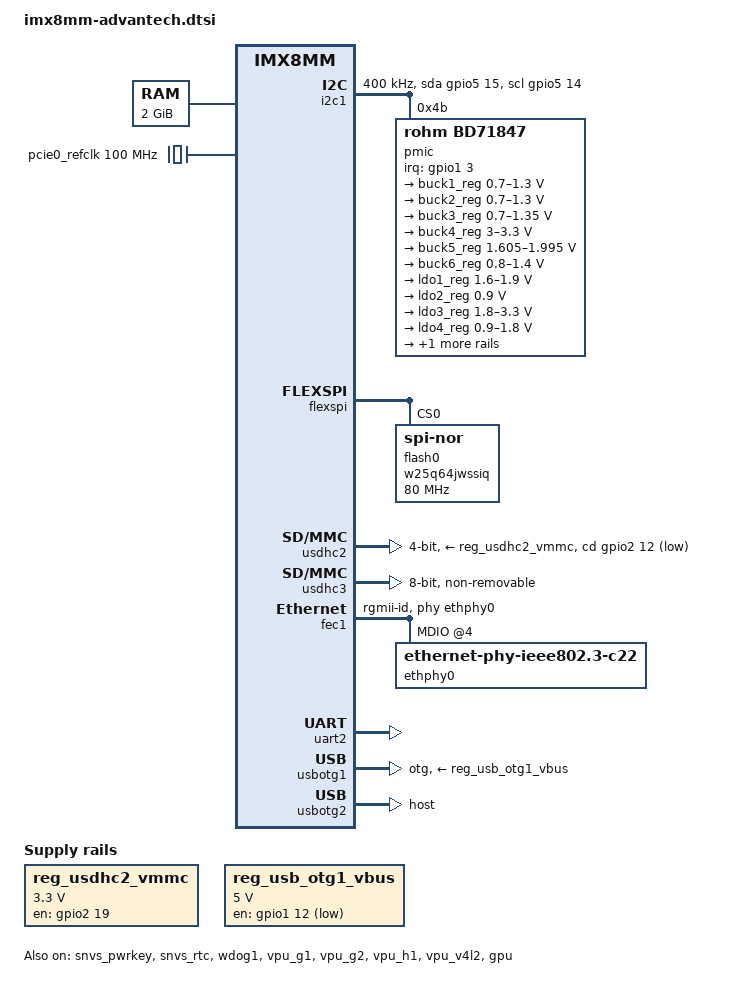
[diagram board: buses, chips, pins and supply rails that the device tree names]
// SPDX-License-Identifier: (GPL-2.0+ OR MIT)
/*
* Copyright 2022 Advantech
*/

/dts-v1/;

#include <dt-bindings/usb/pd.h>
#include "imx8mm.dtsi"

/ {
	/*
	* uart2 as debug port, 115200,8n1.
	*/
	chosen {
		stdout-path = &uart2;
	};

	/*
	* memory.
	*/
	memory@40000000 {
		device_type = "memory";
		reg = <0x0 0x40000000 0 0x80000000>;
	};

	/*
	* Reserved memory.
	*/
	reserved-memory {
		#address-cells = <2>;
		#size-cells = <2>;
		ranges;

		/*
		* reserved 4MB for communiction between 
		* A53 and M4 by rpmsg
		*/
		rpmsg_reserved: rpmsg@0xb8000000 {
			no-map;
			reg = <0 0xb8000000 0 0x400000>;
		};
	};

	/* sd card power regulator. */
	reg_usdhc2_vmmc: regulator-usdhc2 {
		compatible = "regulator-fixed";
		pinctrl-names = "default";
		pinctrl-0 = <&pinctrl_reg_usdhc2_vmmc>;
		regulator-name = "VSD_3V3";
		regulator-min-microvolt = <3300000>;
		regulator-max-microvolt = <3300000>;
		gpio = <&gpio2 19 GPIO_ACTIVE_HIGH>;
		off-on-delay-us = <20000>;
		enable-active-high;
	};

	/* USB_OTG1 power regulator.*/
	reg_usb_otg1_vbus: regulator-vbus {
		pinctrl-names = "default";
		pinctrl-0 = <&pinctrl_usbotg1_reg>;
		compatible = "regulator-fixed";
		regulator-name = "usb_otg1_vbus";
		regulator-min-microvolt = <5000000>;
		regulator-max-microvolt = <5000000>;
		gpio = <&gpio1 12 GPIO_ACTIVE_LOW>;
	};

	/* Fixed pcie clock. */
	pcie0_refclk: pcie0-refclk {
		compatible = "fixed-clock";
		#clock-cells = <0>;
		clock-frequency = <100000000>;
	};
};

/*
* ARM CPU DVFS power supply.
*/
&A53_0 {
	cpu-supply = <&buck2_reg>;
};

&A53_1 {
	cpu-supply = <&buck2_reg>;
};

&A53_2 {
	cpu-supply = <&buck2_reg>;
};

&A53_3 {
	cpu-supply = <&buck2_reg>;
};

/*
* CPU thermal-zones.
*/
&cpu_alert0 {
	temperature = <100000>;
	hysteresis = <2000>;
	type = "passive";
};

&cpu_crit0 {
	temperature = <103000>;
	hysteresis = <2000>;
	type = "critical";
};

/*
* SVNS ONOFF button.
* power button.
*/
&snvs_pwrkey {
	status = "okay";
};

/* enable the snvs rtc. */
&snvs_rtc {
	status = "okay";
};

/**************
* I2C BUS 
* (4 BUS in total.)
**************/
&i2c1 {
	clock-frequency = <400000>;
	pinctrl-names = "default", "gpio";
	pinctrl-0 = <&pinctrl_i2c1>;
	pinctrl-1 = <&pinctrl_i2c1_gpio>;
	scl-gpios = <&gpio5 14 GPIO_ACTIVE_HIGH>;
	sda-gpios = <&gpio5 15 GPIO_ACTIVE_HIGH>;
	status = "okay";

	/*
	* PMIC: BD71847@0x4b
	*/
	pmic: bd71847@4b {
		compatible = "rohm,bd71847";
		reg = <0x4b>;

		/* PMIC BD71847 PMIC_nINT GPIO1_IO3 */
		pinctrl-0 = <&pinctrl_pmic>;
		interrupt-parent = <&gpio1>;
		interrupts = <3 GPIO_ACTIVE_LOW>;
		rohm,reset-snvs-powered;

		regulators {
			/*
			* VDD_SOC		
			*/
			buck1_reg: BUCK1 {
				regulator-name = "BUCK1";
				regulator-min-microvolt = <700000>;
				regulator-max-microvolt = <1300000>;
				regulator-boot-on;
				regulator-always-on;
				regulator-ramp-delay = <1250>;
			};

			/*
			* VDD_ARM		
			*/
			buck2_reg: BUCK2 {
				regulator-name = "BUCK2";
				regulator-min-microvolt = <700000>;
				regulator-max-microvolt = <1300000>;
				regulator-boot-on;
				regulator-always-on;
				regulator-ramp-delay = <1250>;
			};

			/*
			* VDD_DRAM, VDD_GPU, VDD_VPU		
			*/
			buck3_reg: BUCK3 {
				/* BUCK5 in datasheet */
				regulator-name = "BUCK3";
				regulator-min-microvolt = <700000>;
				regulator-max-microvolt = <1350000>;
				regulator-boot-on;
				regulator-always-on;
			};

			/*
			* VDD_3V3		
			*/
			buck4_reg: BUCK4 {
				/* BUCK6 in datasheet*/
				regulator-name = "BUCK4";
				regulator-min-microvolt = <3000000>;
				regulator-max-microvolt = <3300000>;
				regulator-boot-on;
				regulator-always-on;
			};

			/*
			* VDD_1V8		
			*/
			buck5_reg: BUCK5 {
				/* BUCK7 in datasheet*/
				regulator-name = "BUCK5";
				regulator-min-microvolt = <1605000>;
				regulator-max-microvolt = <1995000>;
				regulator-boot-on;
				regulator-always-on;
			};
			
			/*
			* VDD_DRAM1V1		
			*/
			buck6_reg: BUCK6 {
				/* BUCK8 in datasheet */
				regulator-name = "BUCK6";
				regulator-min-microvolt = <800000>;
				regulator-max-microvolt = <1400000>;
				regulator-boot-on;
				regulator-always-on;
			};

			/*
			* NVCC_SNVS_1V8		
			*/
			ldo1_reg: LDO1 {
				regulator-name = "LDO1";
				regulator-min-microvolt = <1600000>;
				regulator-max-microvolt = <1900000>;
				regulator-boot-on;
				regulator-always-on;
			};

			/*
			* VDD_SNVS_0V8		
			*/
			ldo2_reg: LDO2 {
				regulator-name = "LDO2";
				regulator-min-microvolt = <900000>;
				regulator-max-microvolt = <900000>;
				regulator-boot-on;
				regulator-always-on;
			};

			/*
			* +VDDA_1V8		
			*/
			ldo3_reg: LDO3 {
				regulator-name = "LDO3";
				regulator-min-microvolt = <1800000>;
				regulator-max-microvolt = <3300000>;
				regulator-boot-on;
				regulator-always-on;
			};

			/*
			* VDD_PHY_0V9		
			*/
			ldo4_reg: LDO4 {
				regulator-name = "LDO4";
				regulator-min-microvolt = <900000>;
				regulator-max-microvolt = <1800000>;
				regulator-boot-on;
				regulator-always-on;
			};

			/*
			* VDD_PHY_1V2		
			*/
			ldo6_reg: LDO6 {
				regulator-name = "LDO6";
				regulator-min-microvolt = <900000>;
				regulator-max-microvolt = <1800000>;
				regulator-boot-on;
				regulator-always-on;
			};
		};
	};
};

&i2c2 {
	clock-frequency = <400000>;
	pinctrl-names = "default", "gpio";
	pinctrl-0 = <&pinctrl_i2c2>;
	pinctrl-1 = <&pinctrl_i2c2_gpio>;
    scl-gpios = <&gpio5 16 GPIO_ACTIVE_HIGH>;
	sda-gpios = <&gpio5 17 GPIO_ACTIVE_HIGH>;
	status = "disabled";
};

&i2c3 {
	clock-frequency = <100000>;
	pinctrl-names = "default", "gpio";
	pinctrl-0 = <&pinctrl_i2c3>;
	pinctrl-1 = <&pinctrl_i2c3_gpio>;
	scl-gpios = <&gpio5 18 GPIO_ACTIVE_HIGH>;
	sda-gpios = <&gpio5 19 GPIO_ACTIVE_HIGH>;

	status = "disabled";
};

&i2c4 {
	clock-frequency = <400000>;
	pinctrl-names = "default", "gpio";
	pinctrl-0 = <&pinctrl_i2c4>;
	pinctrl-1 = <&pinctrl_i2c4_gpio>;
    scl-gpios = <&gpio5 20 GPIO_ACTIVE_HIGH>;
    sda-gpios = <&gpio5 21 GPIO_ACTIVE_HIGH>;

	status = "disabled";
};


/******************************
* FlexSPI:
* system default qspi flash.
******************************/
&flexspi {
	pinctrl-names = "default";
	pinctrl-0 = <&pinctrl_flexspi0>;
	status = "okay";

	/* 8 MB flash. */
	flash0: w25q64jwssiq@0 {
		reg = <0>;
		#address-cells = <1>;
		#size-cells = <1>;
		compatible = "jedec,spi-nor";
		spi-max-frequency = <80000000>;
		spi-tx-bus-width = <4>;
		spi-rx-bus-width = <4>;
	};
};


/*********************************************************
* USDHC:
* 2x eMMC 5.1/3x SD 3.0
* Two uSDHC controllers (uSDHC1 and uSDHC3) can support
* up to an 8-bit interface, the other controller (uSDHC2)
* can only support up to a 4-bit interface.
*********************************************************/
/* SDIO */
&usdhc1 {
	status = "disabled";
};

/* SD Card. */
&usdhc2 {
	pinctrl-names = "default", "state_100mhz", "state_200mhz";
	pinctrl-0 = <&pinctrl_usdhc2>, <&pinctrl_usdhc2_gpio>;
	pinctrl-1 = <&pinctrl_usdhc2_100mhz>, <&pinctrl_usdhc2_gpio>;
	pinctrl-2 = <&pinctrl_usdhc2_200mhz>, <&pinctrl_usdhc2_gpio>;
	assigned-clocks = <&clk IMX8MM_CLK_USDHC2>;
	assigned-clock-rates = <200000000>;
	cd-gpios = <&gpio2 12 GPIO_ACTIVE_LOW>;
	bus-width = <4>;
	vmmc-supply = <&reg_usdhc2_vmmc>;
	status = "okay";
};

/* eMMC flash. */
&usdhc3 {
	pinctrl-names = "default", "state_100mhz", "state_200mhz";
	pinctrl-0 = <&pinctrl_usdhc3>;
	pinctrl-1 = <&pinctrl_usdhc3_100mhz>;
	pinctrl-2 = <&pinctrl_usdhc3_200mhz>;
	assigned-clocks = <&clk IMX8MM_CLK_USDHC3_ROOT>;
	assigned-clock-rates = <400000000>;
	bus-width = <8>;
	non-removable;
	status = "okay";
};

/****************
* FEC:
* GB Ethernet.
****************/
&fec1 {
	pinctrl-names = "default";
	pinctrl-0 = <&pinctrl_fec1>;
	phy-mode = "rgmii-id";
	phy-handle = <&ethphy0>;
	fsl,magic-packet;
	status = "okay";

	mdio {
		#address-cells = <1>;
		#size-cells = <0>;

		ethphy0: ethernet-phy@4 {
			compatible = "ethernet-phy-ieee802.3-c22";
			//reg = <4>;
			at803x,eee-disabled;
			at803x,vddio-1p8v;
			eee-broken-1000t;
		};
	};
};

/**********************************
* PCIe:
* Dual mode operation to function 
* as root complex or endpoint.
**********************************/
&pcie0{
	pinctrl-names = "default";
	pinctrl-0 = <&pinctrl_pcie0>;
	reset-gpio = <&gpio1 13 GPIO_ACTIVE_LOW>;
	disable-gpio = <&gpio1 5 GPIO_ACTIVE_LOW>;
	clocks = <&clk IMX8MM_CLK_PCIE1_ROOT>,
		 <&clk IMX8MM_CLK_PCIE1_AUX>,
		 <&clk IMX8MM_CLK_PCIE1_PHY>,
		 <&pcie0_refclk>;
	clock-names = "pcie", "pcie_aux", "pcie_phy", "pcie_bus";
	assigned-clocks = <&clk IMX8MM_CLK_PCIE1_AUX>,
			  <&clk IMX8MM_CLK_PCIE1_PHY>,
			  <&clk IMX8MM_CLK_PCIE1_CTRL>;
	assigned-clock-rates = <10000000>, <100000000>, <250000000>;
	assigned-clock-parents = <&clk IMX8MM_SYS_PLL2_50M>,
				 <&clk IMX8MM_SYS_PLL2_100M>,
				 <&clk IMX8MM_SYS_PLL2_250M>;
	ext_osc = <1>;
	status = "disabled";
};

&pcie0_ep{
	pinctrl-names = "default";
	pinctrl-0 = <&pinctrl_pcie0>;
	clocks = <&clk IMX8MM_CLK_PCIE1_ROOT>,
		 <&clk IMX8MM_CLK_PCIE1_AUX>,
		 <&clk IMX8MM_CLK_PCIE1_PHY>,
		 <&pcie0_refclk>;
	clock-names = "pcie", "pcie_aux", "pcie_phy", "pcie_bus";
	assigned-clocks = <&clk IMX8MM_CLK_PCIE1_AUX>,
			  <&clk IMX8MM_CLK_PCIE1_PHY>,
			  <&clk IMX8MM_CLK_PCIE1_CTRL>;
	assigned-clock-rates = <10000000>, <100000000>, <250000000>;
	assigned-clock-parents = <&clk IMX8MM_SYS_PLL2_50M>,
				 <&clk IMX8MM_SYS_PLL2_100M>,
				 <&clk IMX8MM_SYS_PLL2_250M>;
	ext_osc = <1>;
	status = "disabled";
};

/**********************
* UART:
* 4 UART in this soc.
**********************/
&uart1 {
	/*
	*To support high bandrate(like 4M), we set the
	* clk src as 80MHz.	
	*/
	assigned-clocks = <&clk IMX8MM_CLK_UART1>;
	assigned-clock-parents = <&clk IMX8MM_SYS_PLL1_80M>;
	status = "disabled";
};

/* console for A53. */
&uart2 {
	pinctrl-names = "default";
	pinctrl-0 = <&pinctrl_uart2>;
	status = "okay";
};

&uart3 {
	status = "disabled";
};

&uart4 {
	status = "disabled";
};

/************************************
* USB:
* Two USB 2.0 OTG controllers 
* with integrated PHY interfaces
************************************/
&usbotg1 {
	dr_mode = "otg";
	hnp-disable;
	srp-disable;
	adp-disable;
	disable-over-current;
	vbus-supply = <&reg_usb_otg1_vbus>;
	status = "okay";
};

/* USB HOST.*/
&usbotg2 {
	dr_mode = "host";
	status = "okay";
};

/*
* Watchdog:
* system default watchdog.
* WDOG_B is used as Cold Reset.
*/
&wdog1 {
	pinctrl-names = "default";
	pinctrl-0 = <&pinctrl_wdog>;
	fsl,ext-reset-output;
	status = "okay";
};

/*
* VPU:
* user should add vpu user library.
* and vpu firmware(vpu_fw_imx8xxx.bin)
*/
&vpu_g1 {
	status = "okay";
};

&vpu_g2 {
	status = "okay";
};

&vpu_h1 {
	status = "okay";
};

&vpu_v4l2 {
	status = "okay";
};

/*
* Enable GPU.
* need gpu-viv driver and imx-gpu 
* library.
*/
&gpu {
	status = "okay";
};

/*
* IOMUX:
*/
&iomuxc {
	pinctrl-names = "default";

	pinctrl_fec1: fec1grp {
		fsl,pins = <
			MX8MM_IOMUXC_ENET_MDC_ENET1_MDC			0x3
			MX8MM_IOMUXC_ENET_MDIO_ENET1_MDIO		0x3
			MX8MM_IOMUXC_ENET_TD3_ENET1_RGMII_TD3		0x1f
			MX8MM_IOMUXC_ENET_TD2_ENET1_RGMII_TD2		0x1f
			MX8MM_IOMUXC_ENET_TD1_ENET1_RGMII_TD1		0x1f
			MX8MM_IOMUXC_ENET_TD0_ENET1_RGMII_TD0		0x1f
			MX8MM_IOMUXC_ENET_RD3_ENET1_RGMII_RD3		0x91
			MX8MM_IOMUXC_ENET_RD2_ENET1_RGMII_RD2		0x91
			MX8MM_IOMUXC_ENET_RD1_ENET1_RGMII_RD1		0x91
			MX8MM_IOMUXC_ENET_RD0_ENET1_RGMII_RD0		0x91
			MX8MM_IOMUXC_ENET_TXC_ENET1_RGMII_TXC		0x1f
			MX8MM_IOMUXC_ENET_RXC_ENET1_RGMII_RXC		0x91
			MX8MM_IOMUXC_ENET_RX_CTL_ENET1_RGMII_RX_CTL	0x91
			MX8MM_IOMUXC_ENET_TX_CTL_ENET1_RGMII_TX_CTL	0x1f
		>;
	};

	pinctrl_flexspi0: flexspi0grp {
		fsl,pins = <
			MX8MM_IOMUXC_NAND_ALE_QSPI_A_SCLK               0x1c2
			MX8MM_IOMUXC_NAND_CE0_B_QSPI_A_SS0_B            0x82
			MX8MM_IOMUXC_NAND_DATA00_QSPI_A_DATA0           0x82
			MX8MM_IOMUXC_NAND_DATA01_QSPI_A_DATA1           0x82
			MX8MM_IOMUXC_NAND_DATA02_QSPI_A_DATA2           0x82
			MX8MM_IOMUXC_NAND_DATA03_QSPI_A_DATA3           0x82
		>;
	};

	pinctrl_i2c1: i2c1grp {
		fsl,pins = <
			MX8MM_IOMUXC_I2C1_SCL_I2C1_SCL			0x400001c3
			MX8MM_IOMUXC_I2C1_SDA_I2C1_SDA			0x400001c3
		>;
	};
	
	pinctrl_i2c1_gpio: i2c1_gpio_grp {
		fsl,pins = <
			MX8MM_IOMUXC_I2C1_SCL_GPIO5_IO14		0x19
			MX8MM_IOMUXC_I2C1_SDA_GPIO5_IO15		0x19
		>;
	};

	pinctrl_i2c2: i2c2grp {
		fsl,pins = <
			MX8MM_IOMUXC_I2C2_SCL_I2C2_SCL			0x400001c3
			MX8MM_IOMUXC_I2C2_SDA_I2C2_SDA			0x400001c3
		>;
	};

	pinctrl_i2c2_gpio: i2c2_gpio_grp {
		fsl,pins = <
			MX8MM_IOMUXC_I2C2_SCL_GPIO5_IO16		0x19
			MX8MM_IOMUXC_I2C2_SDA_GPIO5_IO17		0x19
		>;
	};

	pinctrl_i2c3: i2c3grp {
		fsl,pins = <
			MX8MM_IOMUXC_I2C3_SCL_I2C3_SCL			0x400001c3
			MX8MM_IOMUXC_I2C3_SDA_I2C3_SDA			0x400001c3
		>;
	};

	pinctrl_i2c3_gpio: i2c3_gpio_grp {
		fsl,pins = <
			MX8MM_IOMUXC_I2C3_SCL_GPIO5_IO18		0x19
			MX8MM_IOMUXC_I2C3_SDA_GPIO5_IO19		0x19
		>;
	};

	pinctrl_i2c4: i2c4grp {
		fsl,pins = <
			MX8MM_IOMUXC_I2C4_SCL_I2C4_SCL                  0x400001c3
			MX8MM_IOMUXC_I2C4_SDA_I2C4_SDA                  0x400001c3
		>;
	};

	pinctrl_i2c4_gpio: i2c4_gpio_grp {
		fsl,pins = <
			MX8MM_IOMUXC_I2C4_SCL_GPIO5_IO20		0x19
			MX8MM_IOMUXC_I2C4_SDA_GPIO5_IO21		0x19
		>;
	};

	pinctrl_pcie0: pcie0grp {
		fsl,pins = <
			MX8MM_IOMUXC_GPIO1_IO05_GPIO1_IO5		0x19	/* PCIe disable */
			MX8MM_IOMUXC_GPIO1_IO13_GPIO1_IO13		0x41
			MX8MM_IOMUXC_SAI5_RXFS_GPIO3_IO19		0x41
		>;
	};

	pinctrl_pmic: pmicirq {
		fsl,pins = <
			MX8MM_IOMUXC_GPIO1_IO03_GPIO1_IO3		0x41
		>;
	};

	pinctrl_usbotg1_reg: usbotg1 {
		fsl,pins = <
			MX8MM_IOMUXC_GPIO1_IO12_GPIO1_IO12		0x19	/* USB1_OTG_PWR_EN */
		>;
	};

	pinctrl_reg_usdhc2_vmmc: regusdhc2vmmc {
		fsl,pins = <
			MX8MM_IOMUXC_SD2_RESET_B_GPIO2_IO19	0x41
		>;
	};

	pinctrl_uart2: uart2grp {
		fsl,pins = <
			/*MX8MM_IOMUXC_UART2_RXD_UART2_DCE_RX	0x140
			MX8MM_IOMUXC_UART2_TXD_UART2_DCE_TX	0x140*/
			MX8MM_IOMUXC_SAI3_TXC_UART2_DCE_TX		0x140
			MX8MM_IOMUXC_SAI3_TXFS_UART2_DCE_RX		0x140
		>;
	};

	pinctrl_usdhc2_gpio: usdhc2grpgpio {
		fsl,pins = <
			MX8MM_IOMUXC_SD2_CD_B_GPIO2_IO12	0x1c4
		>;
	};

	pinctrl_usdhc2: usdhc2grp {
		fsl,pins = <
			MX8MM_IOMUXC_SD2_CLK_USDHC2_CLK		0x190
			MX8MM_IOMUXC_SD2_CMD_USDHC2_CMD		0x1d0
			MX8MM_IOMUXC_SD2_DATA0_USDHC2_DATA0	0x1d0
			MX8MM_IOMUXC_SD2_DATA1_USDHC2_DATA1	0x1d0
			MX8MM_IOMUXC_SD2_DATA2_USDHC2_DATA2	0x1d0
			MX8MM_IOMUXC_SD2_DATA3_USDHC2_DATA3	0x1d0
			MX8MM_IOMUXC_GPIO1_IO04_USDHC2_VSELECT	0x1d0
		>;
	};

	pinctrl_usdhc2_100mhz: usdhc2grp100mhz {
		fsl,pins = <
			MX8MM_IOMUXC_SD2_CLK_USDHC2_CLK		0x194
			MX8MM_IOMUXC_SD2_CMD_USDHC2_CMD		0x1d4
			MX8MM_IOMUXC_SD2_DATA0_USDHC2_DATA0	0x1d4
			MX8MM_IOMUXC_SD2_DATA1_USDHC2_DATA1	0x1d4
			MX8MM_IOMUXC_SD2_DATA2_USDHC2_DATA2	0x1d4
			MX8MM_IOMUXC_SD2_DATA3_USDHC2_DATA3	0x1d4
			MX8MM_IOMUXC_GPIO1_IO04_USDHC2_VSELECT	0x1d0
		>;
	};

	pinctrl_usdhc2_200mhz: usdhc2grp200mhz {
		fsl,pins = <
			MX8MM_IOMUXC_SD2_CLK_USDHC2_CLK		0x196
			MX8MM_IOMUXC_SD2_CMD_USDHC2_CMD		0x1d6
			MX8MM_IOMUXC_SD2_DATA0_USDHC2_DATA0	0x1d6
			MX8MM_IOMUXC_SD2_DATA1_USDHC2_DATA1	0x1d6
			MX8MM_IOMUXC_SD2_DATA2_USDHC2_DATA2	0x1d6
			MX8MM_IOMUXC_SD2_DATA3_USDHC2_DATA3	0x1d6
			MX8MM_IOMUXC_GPIO1_IO04_USDHC2_VSELECT	0x1d0
		>;
	};

	pinctrl_usdhc3: usdhc3grp {
		fsl,pins = <
			MX8MM_IOMUXC_NAND_WE_B_USDHC3_CLK		0x190
			MX8MM_IOMUXC_NAND_WP_B_USDHC3_CMD		0x1d0
			MX8MM_IOMUXC_NAND_DATA04_USDHC3_DATA0		0x1d0
			MX8MM_IOMUXC_NAND_DATA05_USDHC3_DATA1		0x1d0
			MX8MM_IOMUXC_NAND_DATA06_USDHC3_DATA2		0x1d0
			MX8MM_IOMUXC_NAND_DATA07_USDHC3_DATA3		0x1d0
			MX8MM_IOMUXC_NAND_RE_B_USDHC3_DATA4		0x1d0
			MX8MM_IOMUXC_NAND_CE2_B_USDHC3_DATA5		0x1d0
			MX8MM_IOMUXC_NAND_CE3_B_USDHC3_DATA6		0x1d0
			MX8MM_IOMUXC_NAND_CLE_USDHC3_DATA7		0x1d0
			MX8MM_IOMUXC_NAND_CE1_B_USDHC3_STROBE 		0x190
		>;
	};

	pinctrl_usdhc3_100mhz: usdhc3grp100mhz {
		fsl,pins = <
			MX8MM_IOMUXC_NAND_WE_B_USDHC3_CLK		0x194
			MX8MM_IOMUXC_NAND_WP_B_USDHC3_CMD		0x1d4
			MX8MM_IOMUXC_NAND_DATA04_USDHC3_DATA0		0x1d4
			MX8MM_IOMUXC_NAND_DATA05_USDHC3_DATA1		0x1d4
			MX8MM_IOMUXC_NAND_DATA06_USDHC3_DATA2		0x1d4
			MX8MM_IOMUXC_NAND_DATA07_USDHC3_DATA3		0x1d4
			MX8MM_IOMUXC_NAND_RE_B_USDHC3_DATA4		0x1d4
			MX8MM_IOMUXC_NAND_CE2_B_USDHC3_DATA5		0x1d4
			MX8MM_IOMUXC_NAND_CE3_B_USDHC3_DATA6		0x1d4
			MX8MM_IOMUXC_NAND_CLE_USDHC3_DATA7		0x1d4
			MX8MM_IOMUXC_NAND_CE1_B_USDHC3_STROBE 		0x194
		>;
	};

	pinctrl_usdhc3_200mhz: usdhc3grp200mhz {
		fsl,pins = <
			MX8MM_IOMUXC_NAND_WE_B_USDHC3_CLK		0x196
			MX8MM_IOMUXC_NAND_WP_B_USDHC3_CMD		0x1d6
			MX8MM_IOMUXC_NAND_DATA04_USDHC3_DATA0		0x1d6
			MX8MM_IOMUXC_NAND_DATA05_USDHC3_DATA1		0x1d6
			MX8MM_IOMUXC_NAND_DATA06_USDHC3_DATA2		0x1d6
			MX8MM_IOMUXC_NAND_DATA07_USDHC3_DATA3		0x1d6
			MX8MM_IOMUXC_NAND_RE_B_USDHC3_DATA4		0x1d6
			MX8MM_IOMUXC_NAND_CE2_B_USDHC3_DATA5		0x1d6
			MX8MM_IOMUXC_NAND_CE3_B_USDHC3_DATA6		0x1d6
			MX8MM_IOMUXC_NAND_CLE_USDHC3_DATA7		0x1d6
			MX8MM_IOMUXC_NAND_CE1_B_USDHC3_STROBE 		0x196
		>;
	};

	pinctrl_wdog: wdoggrp {
		fsl,pins = <
			MX8MM_IOMUXC_GPIO1_IO02_WDOG1_WDOG_B	0xc6
		>;
	};
};
